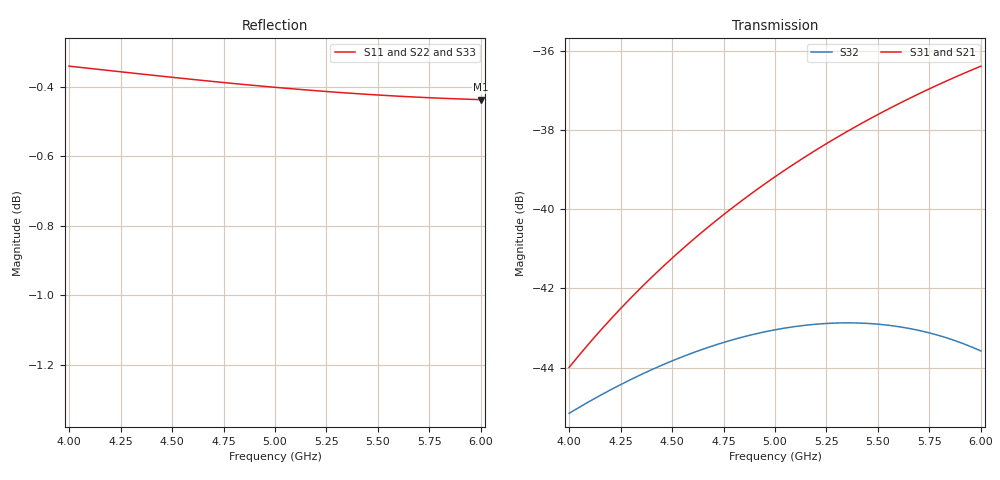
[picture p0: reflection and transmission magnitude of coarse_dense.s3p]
! yapnr rf: divider-osh-w-robust, footprint re-simulated (optimization grid)
! spec sha256 f072ce9885e97b327236de2692c1743046cec8157b5d87c414d6f32f2c01234a
! 3 ports renormalized to 50 ohm, e^(+jwt) convention
# GHz S RI R 50
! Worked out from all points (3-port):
!   81 points, 4 GHz to 6 GHz, reference 50 ohm
!   strongest paths, dB at 4 GHz, 4.5 GHz, 5 GHz, 5.5 GHz, 6 GHz:
!     S31: -44.0, -41.2, -39.2, -37.6, -36.4
!     S21: -44.0, -41.2, -39.2, -37.6, -36.4
!     S32: -45.2, -43.8, -43.0, -42.9, -43.6
!   lowest |S11| = -0.4 dB at 6 GHz (marker M1), VSWR 39.77, Z = 1.26 - j2.1 ohm
!   |S11| at or under -10 dB: nowhere
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4  -0.4252 -0.8624  -0.00416 0.00463  -0.00416 0.00463
   -0.00461 0.00431  -0.4212 -0.8661  -0.00388 -0.00393
   -0.00461 0.00431  -0.00388 -0.00393  -0.4212 -0.8661
4.225  -0.5203 -0.8067  -0.00403 0.00598  -0.00403 0.00598
       -0.00473 0.00565  -0.5153 -0.8122  -0.00509 -0.0031
       -0.00473 0.00565  -0.00509 -0.0031  -0.5153 -0.8122
4.475  -0.6177 -0.7326  -0.00348 0.0075  -0.00348 0.0075
       -0.0045 0.00728  -0.6122 -0.7401  -0.00614 -0.00178
       -0.0045 0.00728  -0.00614 -0.00178  -0.6122 -0.7401
4.75  -0.713 -0.6373  -0.00235 0.00903  -0.00235 0.00903
      -0.00373 0.00911  -0.7079 -0.6471  -0.00679 2.66e-05
      -0.00373 0.00911  -0.00679 2.66e-05  -0.7079 -0.6471
5  -0.7876 -0.5399  -0.000915 0.0102  -0.000915 0.0102
   -0.00252 0.0107  -0.7834 -0.5512  -0.00681 0.00179
   -0.00252 0.0107  -0.00681 0.00179  -0.7834 -0.5512
5.25  -0.8492 -0.4336  0.000844 0.0109  0.000844 0.0109
      -0.000839 0.0121  -0.8466 -0.4459  -0.00628 0.00347
      -0.000839 0.0121  -0.00628 0.00347  -0.8466 -0.4459
5.5  -0.8969 -0.3203  0.00282 0.0113  0.00282 0.0113
     0.00129 0.0131  -0.8962 -0.3325  -0.00525 0.00487
     0.00129 0.0131  -0.00525 0.00487  -0.8962 -0.3325
5.75  -0.9299 -0.2018  0.0049 0.0112  0.0049 0.0112
      0.00379 0.0137  -0.9311 -0.2127  -0.00387 0.00581
      0.00379 0.0137  -0.00387 0.00581  -0.9311 -0.2127
5.875  -0.9407 -0.1411  0.00595 0.011  0.00595 0.011
       0.00515 0.0138  -0.9427 -0.151  -0.0031 0.00608
       0.00515 0.0138  -0.0031 0.00608  -0.9427 -0.151
6  -0.9476 -0.0799  0.00698 0.0107  0.00698 0.0107
   0.00656 0.0137  -0.9502 -0.0883  -0.00233 0.0062
   0.00656 0.0137  -0.00233 0.0062  -0.9502 -0.0883
